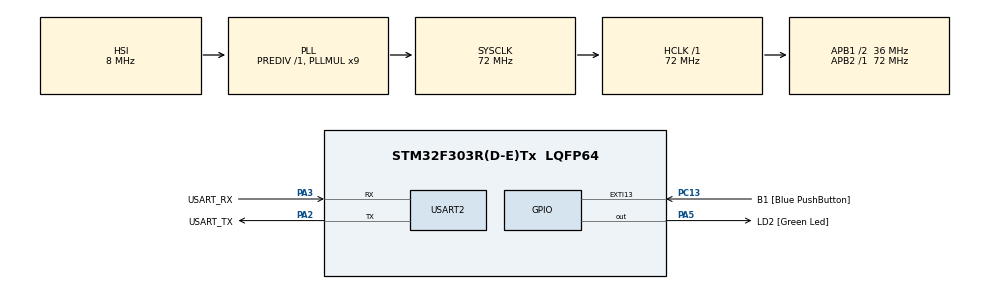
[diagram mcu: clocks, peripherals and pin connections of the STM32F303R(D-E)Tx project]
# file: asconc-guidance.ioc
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Mcu.Family=STM32F3
Mcu.Name=STM32F303R(D-E)Tx
Mcu.Package=LQFP64
NVIC.PriorityGroup=NVIC_PRIORITYGROUP_0
PA13.GPIO_Label=TMS
PA13.Mode=Serial_Wire
PA13.Signal=SYS_JTMS-SWDIO
PA14.GPIO_Label=TCK
PA14.Mode=Serial_Wire
PA14.Signal=SYS_JTCK-SWCLK
PA2.GPIO_Label=USART_TX
PA2.GPIO_Mode=GPIO_MODE_AF_PP
PA2.GPIO_PuPd=GPIO_NOPULL
PA2.GPIO_Speed=GPIO_SPEED_FREQ_LOW
PA2.Mode=Asynchronous
PA2.Signal=USART2_TX
PA3.GPIO_Label=USART_RX
PA3.GPIO_Mode=GPIO_MODE_AF_PP
PA3.GPIO_PuPd=GPIO_NOPULL
PA3.GPIO_Speed=GPIO_SPEED_FREQ_LOW
PA3.Mode=Asynchronous
PA3.Signal=USART2_RX
PA5.GPIO_Label=LD2 [Green Led]
PA5.GPIO_Mode=GPIO_MODE_OUTPUT_PP
PA5.GPIO_PuPd=GPIO_NOPULL
PA5.GPIO_Speed=GPIO_SPEED_FREQ_LOW
PA5.Signal=GPIO_Output
PB3.GPIO_Label=SWO
PB3.Signal=SYS_JTDO-TRACESWO
PC13.GPIO_Label=B1 [Blue PushButton]
PC13.GPIO_ModeDefaultEXTI=GPIO_MODE_IT_FALLING
PC13.Signal=GPXTI13
PC14-OSC32_IN.Mode=LSE-External-Oscillator
PC14-OSC32_IN.Signal=RCC_OSC32_IN
PC15-OSC32_OUT.Mode=LSE-External-Oscillator
PC15-OSC32_OUT.Signal=RCC_OSC32_OUT
PF0-OSC_IN.Mode=HSE-External-Clock-Source
PF0-OSC_IN.Signal=RCC_OSC_IN
PF1-OSC_OUT.Signal=RCC_OSC_OUT
ProjectManager.HeapSize=0x200
ProjectManager.StackSize=0x400
ProjectManager.TargetToolchain=STM32CubeIDE
RCC.AHBFreq_Value=72000000
RCC.APB1CLKDivider=RCC_HCLK_DIV2
RCC.APB1Freq_Value=36000000
RCC.APB1TimFreq_Value=72000000
RCC.APB2Freq_Value=72000000
RCC.APB2TimFreq_Value=72000000
RCC.CortexFreq_Value=72000000
RCC.HCLKFreq_Value=72000000
RCC.HSE_VALUE=8000000
RCC.HSI_VALUE=8000000
RCC.PLLM=8
RCC.PLLMUL=RCC_PLL_MUL9
RCC.PLLN=336
RCC.PLLP=RCC_PLLP_DIV4
RCC.PLLQ=7
RCC.RCC_PLLsource_Clock_Source_FROM_HSE=RCC_HSE_PREDIV_DIV2
RCC.SYSCLKFreq_VALUE=72000000
RCC.SYSCLKSourceVirtual=RCC_SYSCLKSOURCE_PLLCLK
RCC.USBFreq_Value=72000000
USART2.VirtualMode-Asynchronous=VM_ASYNC
board=NUCLEO-F303RE

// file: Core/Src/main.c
/* USER CODE BEGIN Header */
/**
  ******************************************************************************
  * @file           : main.c
  * @brief          : Main program body
  ******************************************************************************
  * @attention
  *
  * Copyright (c) 2025 STMicroelectronics.
  * All rights reserved.
  *
  * This software is licensed under terms that can be found in the LICENSE file
  * in the root directory of this software component.
  * If no LICENSE file comes with this software, it is provided AS-IS.
  *
  ******************************************************************************
  */
/* USER CODE END Header */
#include "main.h"

/* USER CODE BEGIN Includes */
#include <stdio.h>
/* USER CODE END Includes */

UART_HandleTypeDef huart2;

void SystemClock_Config(void);
static void MX_GPIO_Init(void);
static void MX_USART2_UART_Init(void);

int main(void)
{

  /* MCU Configuration--------------------------------------------------------*/

  /* Reset of all peripherals, Initializes the Flash interface and the Systick. */
  HAL_Init();

  /* Configure the system clock */
  SystemClock_Config();

  /* Initialize all configured peripherals */
  MX_GPIO_Init();
  MX_USART2_UART_Init();
  /* USER CODE BEGIN 2 */
  setvbuf(stdout, NULL, _IONBF, 0);

  CoreDebug->DEMCR |= 0x01000000;
  ITM->LAR = 0xC5ACCE55; // enable access
  DWT->CYCCNT = 0; // reset the counter
  DWT->CTRL |= 1 ; // enable the counter
  getcyclesmain(0, NULL);
  /* USER CODE END 2 */

  /* Infinite loop */
  while (1)
  {

  }
}

void SystemClock_Config(void)
{
  RCC_OscInitTypeDef RCC_OscInitStruct = {0};
  RCC_ClkInitTypeDef RCC_ClkInitStruct = {0};
  RCC_PeriphCLKInitTypeDef PeriphClkInit = {0};

  /** Initializes the RCC Oscillators according to the specified parameters
  * in the RCC_OscInitTypeDef structure.
  */
  RCC_OscInitStruct.OscillatorType = RCC_OSCILLATORTYPE_HSI;
  RCC_OscInitStruct.HSIState = RCC_HSI_ON;
  RCC_OscInitStruct.HSICalibrationValue = RCC_HSICALIBRATION_DEFAULT;
  RCC_OscInitStruct.PLL.PLLState = RCC_PLL_ON;
  RCC_OscInitStruct.PLL.PLLSource = RCC_PLLSOURCE_HSI;
  RCC_OscInitStruct.PLL.PLLMUL = RCC_PLL_MUL9;
  RCC_OscInitStruct.PLL.PREDIV = RCC_PREDIV_DIV1;
  if (HAL_RCC_OscConfig(&RCC_OscInitStruct) != HAL_OK)
  {
    Error_Handler();
  }

  /** Initializes the CPU, AHB and APB buses clocks
  */
  RCC_ClkInitStruct.ClockType = RCC_CLOCKTYPE_HCLK|RCC_CLOCKTYPE_SYSCLK
                              |RCC_CLOCKTYPE_PCLK1|RCC_CLOCKTYPE_PCLK2;
  RCC_ClkInitStruct.SYSCLKSource = RCC_SYSCLKSOURCE_PLLCLK;
  RCC_ClkInitStruct.AHBCLKDivider = RCC_SYSCLK_DIV1;
  RCC_ClkInitStruct.APB1CLKDivider = RCC_HCLK_DIV2;
  RCC_ClkInitStruct.APB2CLKDivider = RCC_HCLK_DIV1;

  if (HAL_RCC_ClockConfig(&RCC_ClkInitStruct, FLASH_LATENCY_2) != HAL_OK)
  {
    Error_Handler();
  }
  PeriphClkInit.PeriphClockSelection = RCC_PERIPHCLK_USART2;
  PeriphClkInit.Usart2ClockSelection = RCC_USART2CLKSOURCE_PCLK1;
  if (HAL_RCCEx_PeriphCLKConfig(&PeriphClkInit) != HAL_OK)
  {
    Error_Handler();
  }
}

static void MX_USART2_UART_Init(void)
{

  huart2.Instance = USART2;
  huart2.Init.BaudRate = 38400;
  huart2.Init.WordLength = UART_WORDLENGTH_8B;
  huart2.Init.StopBits = UART_STOPBITS_1;
  huart2.Init.Parity = UART_PARITY_NONE;
  huart2.Init.Mode = UART_MODE_TX_RX;
  huart2.Init.HwFlowCtl = UART_HWCONTROL_NONE;
  huart2.Init.OverSampling = UART_OVERSAMPLING_16;
  huart2.Init.OneBitSampling = UART_ONE_BIT_SAMPLE_DISABLE;
  huart2.AdvancedInit.AdvFeatureInit = UART_ADVFEATURE_NO_INIT;
  if (HAL_UART_Init(&huart2) != HAL_OK)
  {
    Error_Handler();
  }

}

static void MX_GPIO_Init(void)
{
  GPIO_InitTypeDef GPIO_InitStruct = {0};

  /* GPIO Ports Clock Enable */
  __HAL_RCC_GPIOC_CLK_ENABLE();
  __HAL_RCC_GPIOF_CLK_ENABLE();
  __HAL_RCC_GPIOA_CLK_ENABLE();
  __HAL_RCC_GPIOB_CLK_ENABLE();

  /*Configure GPIO pin Output Level */
  HAL_GPIO_WritePin(LD2_GPIO_Port, LD2_Pin, GPIO_PIN_RESET);

  /*Configure GPIO pin : B1_Pin */
  GPIO_InitStruct.Pin = B1_Pin;
  GPIO_InitStruct.Mode = GPIO_MODE_IT_FALLING;
  GPIO_InitStruct.Pull = GPIO_NOPULL;
  HAL_GPIO_Init(B1_GPIO_Port, &GPIO_InitStruct);

  /*Configure GPIO pin : LD2_Pin */
  GPIO_InitStruct.Pin = LD2_Pin;
  GPIO_InitStruct.Mode = GPIO_MODE_OUTPUT_PP;
  GPIO_InitStruct.Pull = GPIO_NOPULL;
  GPIO_InitStruct.Speed = GPIO_SPEED_FREQ_LOW;
  HAL_GPIO_Init(LD2_GPIO_Port, &GPIO_InitStruct);

}

/* USER CODE BEGIN 4 */
#if defined(__GNUC__)
int _write(int fd, char * ptr, int len) {
  HAL_UART_Transmit( & huart2, (uint8_t * ) ptr, len, HAL_MAX_DELAY);
  return len;
}
#elif defined(__ICCARM__)#include "LowLevelIOInterface.h"

size_t __write(int handle,
  const unsigned char * buffer, size_t size) {
  HAL_UART_Transmit( & huart2, (uint8_t * ) buffer, size, HAL_MAX_DELAY);
  return size;
}
#elif defined(__CC_ARM)
int fputc(int ch, FILE * f) {
  HAL_UART_Transmit( & huart2, (uint8_t * ) & ch, 1, HAL_MAX_DELAY);
  return ch;
}
#endif
/* USER CODE END 4 */

void Error_Handler(void)
{
  __disable_irq();
  while (1)
  {
  }
}
